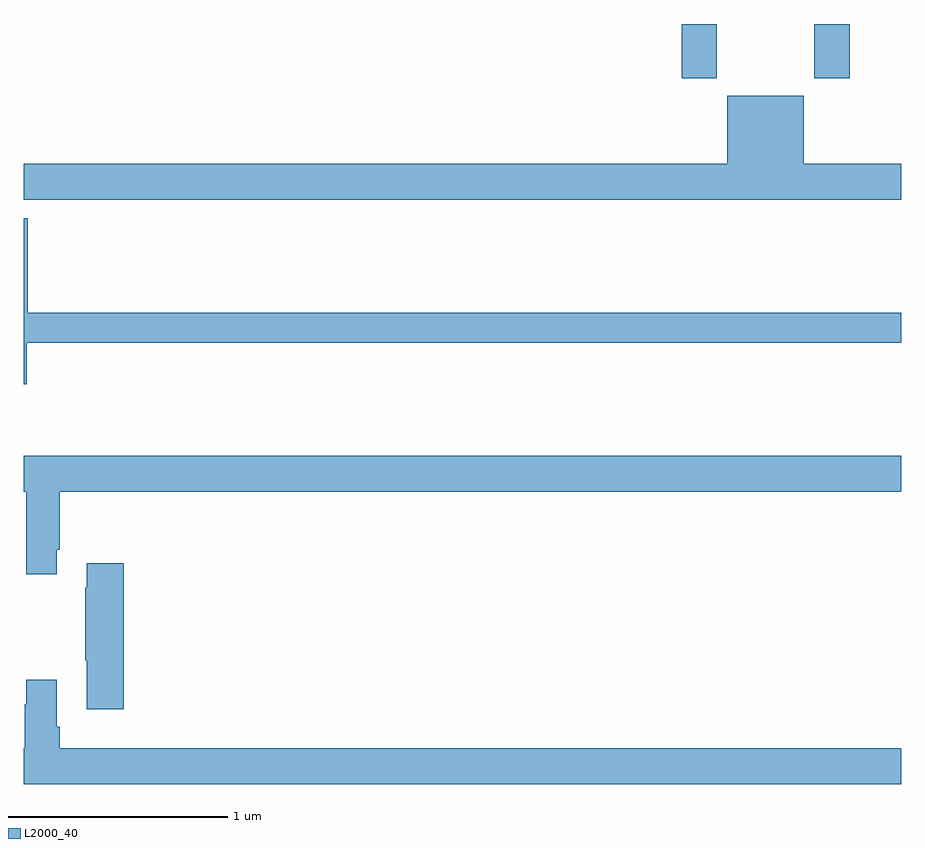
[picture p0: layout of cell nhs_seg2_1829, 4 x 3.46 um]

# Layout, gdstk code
import gdstk
lib = gdstk.Library(unit=1e-6, precision=1e-09)
def R(c, l, rs):  # rectangles x0, y0, x1, y1
    for r in rs: c.add(gdstk.rectangle(r[:2], r[2:], *l))
def P(c, l, *ps):  # polygons
    for p in ps: c.add(gdstk.Polygon(p, *l))
L2000_40 = (2000, 40)

nhs_seg2_1829 = lib.new_cell('nhs_seg2_1829')
R(nhs_seg2_1829, L2000_40, [(209.999,617.553,210.159,617.8), (210.604,617.553,210.764,617.8)])
P(nhs_seg2_1829, L2000_40, [(211,617.164),(210.556,617.164),(210.556,617.473),(210.206,617.473),(210.206,617.164),(207,617.164),(207,617),(211,617)],
  [(207.014,616.348),(211,616.348),(211,616.484),(207.019,616.484),(207.019,616.915),(207,616.915),(207,616.158),(207.014,616.158)],
  [(207.151,615.403),(207.164,615.403),(207.164,615.668),(211,615.668),(211,615.832),(207,615.832),(207,615.668),(207.011,615.668),(207.011,615.291),(207.151,615.291)],
  [(207.455,615.343),(207.287,615.343),(207.287,615.23),(207.28,615.23),(207.28,614.899),(207.287,614.899),(207.287,614.676),(207.455,614.676)],
  [(211,614.5),(207.164,614.5),(207.164,614.596),(207.151,614.596),(207.151,614.812),(207.011,614.812),(207.011,614.699),(207.004,614.699),(207.004,614.5),(207,614.5),(207,614.336),(211,614.336)])

lib.write_gds('nhs_seg2_1829.gds')
